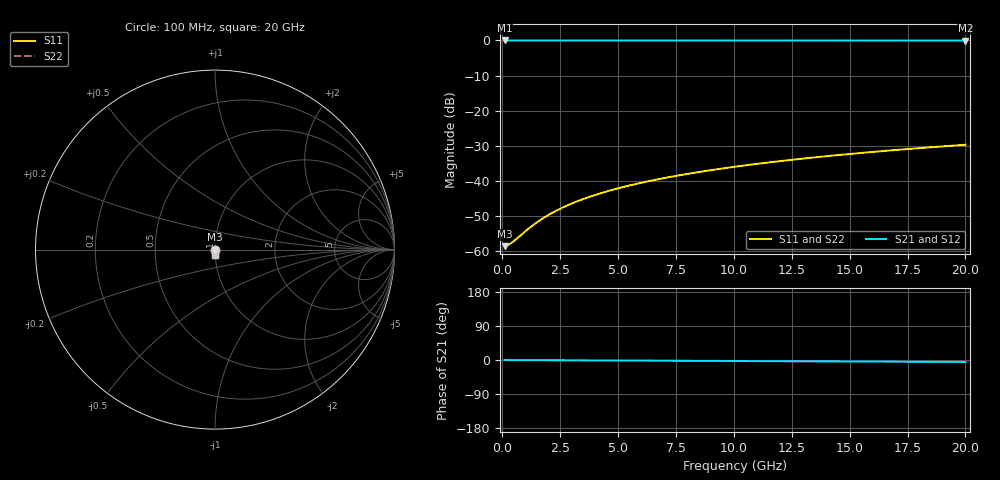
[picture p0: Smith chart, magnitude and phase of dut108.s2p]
! Touchstone file exported from HFSS 2026.1.0
!  File:  C:/ffzhzh/LocalFiles/Ansys_Project_Files/temp_train_TSV_108_1782989639_40604.aedt
!  Generated:  06:55:42 PM Jul  2, 2026
!  Design:  TSV
!  Project:  temp_train_TSV_108_1782989639_40604
! Variables:
!  h_bsmrdl = 2um
!  h_ox = 20um
!  h_rdl = 5um
!  h_sub = 52.47um
!  h_tmrdl = 5um
!  h_tsv = 52.47um
!  h_via = 3um
!  l_bsmrdl = 300um
!  l_sub = 404.58um
!  l_tmrdl = 200um
!  m_sub = 200um
!  pitch = 6.53um
!  r_tsv = 2.29um
!  s_tmrdl = 10um
!  w_bsmrdl = 18um
!  w_sub = 500um
!  w_tmrdl = 12um
!  x_tsv_center1 = 206um
!  x_tsv_center2 = 524um
!  x_tsv_center3 = 736um
!  x_tsv_center4 = 1054um
!  x_tsv_center5 = 1266um
!  x_tsv_center6 = 1584um
# GHz S MA R 50.000000
! Terminal data exported
! Port[1] = TSV1_1_T1
! Port[2] = TSV1_1_T2
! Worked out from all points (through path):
!   200 points, 100 MHz to 20 GHz, reference 50 ohm
!   highest |S21| = -0.01 dB at 100 MHz (marker M1); lowest = 0.0 dB at 20 GHz (marker M2)
!   lowest |S11| = -58.5 dB at 100 MHz (marker M3), VSWR 1.00, Z = 50.1 - j0.0119 ohm
!   |S11| at or under -10 dB: start of sweep to end of sweep
!   |S22| runs from -58.5 to -29.7 dB; largest |S21 - S12| = 7.6e-15
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0.1  0.001187 -5.7  0.9988 -0.0  0.9988 -0.0  0.001187 -5.7
! Gamma 0 0 0 0
! Port Impedance 50 0 50 0
0.2  0.001216 -11.4  0.9988 -0.1  0.9988 -0.1  0.001216 -11.4
0.4  0.001326 -22.0  0.9988 -0.1  0.9988 -0.1  0.001326 -22.0
0.6  0.001493 -31.2  0.9987 -0.2  0.9987 -0.2  0.001493 -31.2
1.3  0.002323 -52.8  0.9986 -0.4  0.9986 -0.4  0.002323 -52.8
1.6  0.002735 -58.3  0.9985 -0.4  0.9985 -0.4  0.002735 -58.3
1.9  0.003163 -62.5  0.9985 -0.5  0.9985 -0.5  0.003163 -62.5
2.2  0.003601 -65.8  0.9985 -0.6  0.9985 -0.6  0.003601 -65.8
2.6  0.004195 -69.1  0.9984 -0.7  0.9984 -0.7  0.004195 -69.1
3  0.004798 -71.6  0.9984 -0.8  0.9984 -0.8  0.004798 -71.6
3.5  0.005559 -74.1  0.9984 -0.9  0.9984 -0.9  0.005559 -74.1
4.2  0.006638 -76.5  0.9983 -1.1  0.9983 -1.1  0.006638 -76.5
5  0.007884 -78.5  0.9982 -1.3  0.9982 -1.3  0.007884 -78.5
5.9  0.009301 -80.2  0.9981 -1.6  0.9981 -1.6  0.009301 -80.2
6.8  0.01073 -81.4  0.998 -1.8  0.998 -1.8  0.01073 -81.4
8.3  0.01314 -82.9  0.9978 -2.2  0.9978 -2.2  0.01314 -82.9
10.1  0.01608 -84.3  0.9975 -2.7  0.9975 -2.7  0.01608 -84.3
11.7  0.01873 -85.2  0.9973 -3.1  0.9973 -3.1  0.01873 -85.2
13.4  0.02158 -86.1  0.997 -3.5  0.997 -3.5  0.02158 -86.1
15  0.02428 -86.9  0.9967 -4.0  0.9967 -4.0  0.02428 -86.9
16.7  0.02717 -87.6  0.9964 -4.4  0.9964 -4.4  0.02717 -87.6
20  0.03283 -88.9  0.9959 -5.2  0.9959 -5.2  0.03283 -88.9
